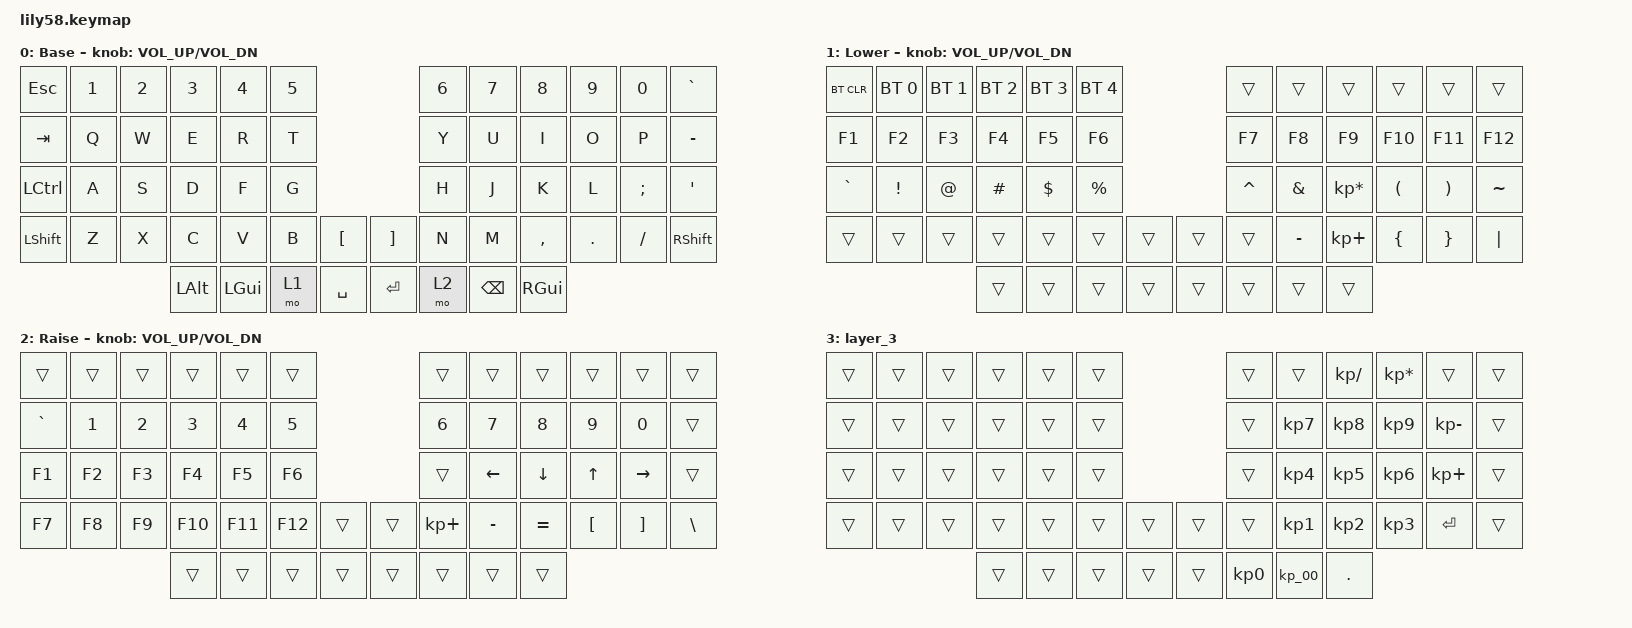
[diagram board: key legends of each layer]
/*
 * Copyright (c) 2020 The ZMK Contributors
 *
 * SPDX-License-Identifier: MIT
 */

#include <behaviors.dtsi>
#include <dt-bindings/zmk/bt.h>
#include <dt-bindings/zmk/keys.h>

/ {
    combos {
        compatible = "zmk,combos";

        Print_screen {
            bindings = <&kp PRINTSCREEN>;
            key-positions = <2 3>;
        };

        Delete {
            bindings = <&kp DEL>;
            key-positions = <20 21>;
        };

        DP_email {
            bindings = <&email>;
            key-positions = <14 15>;
        };

        numpad {
            bindings = <&mo 3>;
            key-positions = <25 52>;
        };
    };

    macros {
        email: email {
            compatible = "zmk,behavior-macro";
            #binding-cells = <0>;
            bindings = <&kp A &kp W &kp A &kp L &kp L &kp S &kp AT &kp D &kp A &kp T &kp A &kp P &kp E &kp R &kp K &kp DOT &kp C &kp O &kp M>;
            label = "EMAIL";
        };

        kp_00: kp_00 {
            compatible = "zmk,behavior-macro";
            #binding-cells = <0>;
            bindings = <&kp N0 &kp N0>;
            label = "KP_00";
        };
    };

    keymap {
        compatible = "zmk,keymap";

        default_layer {
            // ------------------------------------------------------------------------------------------------------------
            // |  ESC  |  1  |  2  |  3   |  4   |  5   |                   |  6   |  7    |  8    |  9   |   0   |   `   |
            // |  TAB  |  Q  |  W  |  E   |  R   |  T   |                   |  Y   |  U    |  I    |  O   |   P   |   -   |
            // |  CTRL |  A  |  S  |  D   |  F   |  G   |                   |  H   |  J    |  K    |  L   |   ;   |   '   |
            // | SHIFT |  Z  |  X  |  C   |  V   |  B   |   "["  |  |  "]"  |  N   |  M    |  ,    |  .   |   /   | SHIFT |
            //                     | ALT  | GUI  | LOWER|  SPACE |  | ENTER | RAISE| BSPC  | GUI   |

            display-name = "Base";
            bindings = <
&kp ESC    &kp N1  &kp N2  &kp N3    &kp N4    &kp N5                         &kp N6  &kp N7    &kp N8     &kp N9   &kp N0    &kp GRAVE
&kp TAB    &kp Q   &kp W   &kp E     &kp R     &kp T                          &kp Y   &kp U     &kp I      &kp O    &kp P     &kp MINUS
&kp LCTRL  &kp A   &kp S   &kp D     &kp F     &kp G                          &kp H   &kp J     &kp K      &kp L    &kp SEMI  &kp SQT
&kp LSHFT  &kp Z   &kp X   &kp C     &kp V     &kp B   &kp LBKT     &kp RBKT  &kp N   &kp M     &kp COMMA  &kp DOT  &kp FSLH  &kp RSHFT
                           &kp LALT  &kp LGUI  &mo 1   &kp SPACE    &kp RET   &mo 2   &kp BSPC  &kp RGUI
            >;

            sensor-bindings = <&inc_dec_kp C_VOL_UP C_VOL_DN>;
        };

        lower_layer {
            // ------------------------------------------------------------------------------------------------------------
            // | BTCLR | BT1 | BT2 |  BT3 |  BT4 |  BT5 |                   |      |       |       |      |       |       |
            // |  F1   |  F2 |  F3 |  F4  |  F5  |  F6  |                   |  F7  |  F8   |  F9   |  F10 |  F11  |  F12  |
            // |   `   |  !  |  @  |  #   |  $   |  %   |                   |  ^   |  &    |  *    |  (   |   )   |   ~   |
            // |       |     |     |      |      |      |        |  |       |      |  _    |  +    |  {   |   }   |  "|"  |
            //                     |      |      |      |        |  |       |      |       |       |

            display-name = "Lower";
            bindings = <
&bt BT_CLR  &bt BT_SEL 0  &bt BT_SEL 1  &bt BT_SEL 2  &bt BT_SEL 3  &bt BT_SEL 4                    &trans     &trans     &trans           &trans    &trans    &trans
&kp F1      &kp F2        &kp F3        &kp F4        &kp F5        &kp F6                          &kp F7     &kp F8     &kp F9           &kp F10   &kp F11   &kp F12
&kp GRAVE   &kp EXCL      &kp AT        &kp HASH      &kp DOLLAR    &kp PRCNT                       &kp CARET  &kp AMPS   &kp KP_MULTIPLY  &kp LPAR  &kp RPAR  &kp TILDE
&trans      &trans        &trans        &trans        &trans        &trans        &trans    &trans  &trans     &kp MINUS  &kp KP_PLUS      &kp LBRC  &kp RBRC  &kp PIPE
                                        &trans        &trans        &trans        &trans    &trans  &trans     &trans     &trans
            >;

            sensor-bindings = <&inc_dec_kp C_VOL_UP C_VOL_DN>;
        };

        raise_layer {
            // ------------------------------------------------------------------------------------------------------------
            // |       |     |     |      |      |      |                   |      |       |       |      |       |       |
            // |   `   |  1  |  2  |  3   |  4   |  5   |                   |  6   |   7   |   8   |  9   |   0   |       |
            // |   F1  |  F2 |  F3 |  F4  |  F5  |  F6  |                   |      |   <-  |   v   |  ^   |  ->   |       |
            // |   F7  |  F8 |  F9 |  F10 |  F11 |  F12 |        |  |       |  +   |   -   |   =   |  [   |   ]   |   \   |
            //                     |      |      |      |        |  |       |      |       |       |

            display-name = "Raise";
            bindings = <
&trans     &trans  &trans  &trans   &trans   &trans                     &trans       &trans     &trans     &trans    &trans     &trans
&kp GRAVE  &kp N1  &kp N2  &kp N3   &kp N4   &kp N5                     &kp N6       &kp N7     &kp N8     &kp N9    &kp N0     &trans
&kp F1     &kp F2  &kp F3  &kp F4   &kp F5   &kp F6                     &trans       &kp LEFT   &kp DOWN   &kp UP    &kp RIGHT  &trans
&kp F7     &kp F8  &kp F9  &kp F10  &kp F11  &kp F12  &trans    &trans  &kp KP_PLUS  &kp MINUS  &kp EQUAL  &kp LBKT  &kp RBKT   &kp BSLH
                           &trans   &trans   &trans   &trans    &trans  &trans       &trans     &trans
            >;

            sensor-bindings = <&inc_dec_kp C_VOL_UP C_VOL_DN>;
        };

        layer_3 {
            bindings = <
&trans  &trans  &trans  &trans  &trans  &trans                    &trans           &trans           &kp KP_DIVIDE    &kp KP_MULTIPLY  &trans           &trans
&trans  &trans  &trans  &trans  &trans  &trans                    &trans           &kp KP_NUMBER_7  &kp KP_NUMBER_8  &kp KP_NUMBER_9  &kp KP_SUBTRACT  &trans
&trans  &trans  &trans  &trans  &trans  &trans                    &trans           &kp KP_NUMBER_4  &kp KP_NUMBER_5  &kp KP_NUMBER_6  &kp KP_PLUS      &trans
&trans  &trans  &trans  &trans  &trans  &trans  &trans    &trans  &trans           &kp KP_NUMBER_1  &kp KP_NUMBER_2  &kp KP_NUMBER_3  &kp ENTER        &trans
                        &trans  &trans  &trans  &trans    &trans  &kp KP_NUMBER_0  &kp_00           &kp DOT
            >;
        };
    };
};
